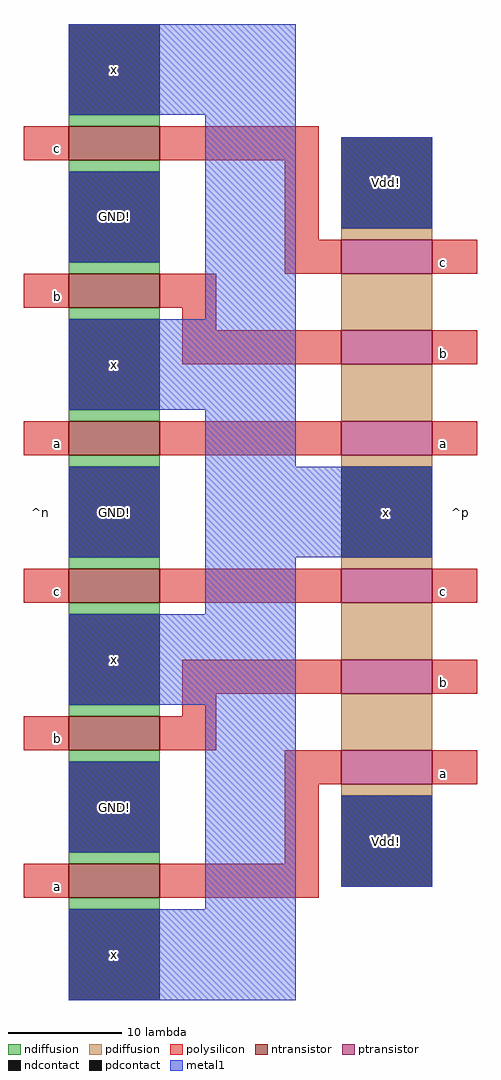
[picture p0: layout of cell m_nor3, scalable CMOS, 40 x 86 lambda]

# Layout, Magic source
magic
tech scmos
<< ndiffusion >>
rect 26 5 34 6
rect 26 1 34 2
rect 26 -8 34 -7
rect 26 -12 34 -11
rect 26 -21 34 -20
rect 26 -25 34 -24
rect 26 -34 34 -33
rect 26 -38 34 -37
rect 26 -47 34 -46
rect 26 -51 34 -50
rect 26 -60 34 -59
rect 26 -64 34 -63
<< pdiffusion >>
rect 50 -5 58 -4
rect 50 -13 58 -8
rect 50 -21 58 -16
rect 50 -25 58 -24
rect 50 -34 58 -33
rect 50 -42 58 -37
rect 50 -50 58 -45
rect 50 -54 58 -53
<< ntransistor >>
rect 26 2 34 5
rect 26 -11 34 -8
rect 26 -24 34 -21
rect 26 -37 34 -34
rect 26 -50 34 -47
rect 26 -63 34 -60
<< ptransistor >>
rect 50 -8 58 -5
rect 50 -16 58 -13
rect 50 -24 58 -21
rect 50 -37 58 -34
rect 50 -45 58 -42
rect 50 -53 58 -50
<< polysilicon >>
rect 22 2 26 5
rect 34 2 48 5
rect 45 -5 48 2
rect 45 -8 50 -5
rect 58 -8 62 -5
rect 22 -11 26 -8
rect 34 -11 39 -8
rect 36 -13 39 -11
rect 36 -16 50 -13
rect 58 -16 62 -13
rect 22 -24 26 -21
rect 34 -24 50 -21
rect 58 -24 62 -21
rect 22 -37 26 -34
rect 34 -37 50 -34
rect 58 -37 62 -34
rect 36 -45 50 -42
rect 58 -45 62 -42
rect 36 -47 39 -45
rect 22 -50 26 -47
rect 34 -50 39 -47
rect 45 -53 50 -50
rect 58 -53 62 -50
rect 45 -60 48 -53
rect 22 -63 26 -60
rect 34 -63 48 -60
<< ndcontact >>
rect 26 6 34 14
rect 26 -7 34 1
rect 26 -20 34 -12
rect 26 -33 34 -25
rect 26 -46 34 -38
rect 26 -59 34 -51
rect 26 -72 34 -64
<< pdcontact >>
rect 50 -4 58 4
rect 50 -33 58 -25
rect 50 -62 58 -54
<< metal1 >>
rect 26 6 46 14
rect 26 -7 34 1
rect 38 -12 46 6
rect 50 -4 58 4
rect 26 -20 46 -12
rect 38 -25 46 -20
rect 26 -33 34 -25
rect 38 -33 58 -25
rect 38 -38 46 -33
rect 26 -46 46 -38
rect 26 -59 34 -51
rect 38 -64 46 -46
rect 50 -62 58 -54
rect 26 -72 46 -64
<< labels >>
rlabel metal1 30 -16 30 -16 1 x
rlabel polysilicon 59 -23 59 -23 7 a
rlabel polysilicon 59 -15 59 -15 7 b
rlabel polysilicon 25 -10 25 -10 1 b
rlabel polysilicon 25 -23 25 -23 1 a
rlabel polysilicon 59 -7 59 -7 7 c
rlabel metal1 30 10 30 10 5 x
rlabel polysilicon 25 3 25 3 1 c
rlabel metal1 54 -29 54 -29 5 x
rlabel metal1 30 -42 30 -42 5 x
rlabel metal1 30 -68 30 -68 1 x
rlabel polysilicon 59 -36 59 -36 7 c
rlabel polysilicon 59 -44 59 -44 7 b
rlabel polysilicon 59 -52 59 -52 7 a
rlabel polysilicon 25 -49 25 -49 1 b
rlabel polysilicon 25 -62 25 -62 1 a
rlabel polysilicon 25 -36 25 -36 1 c
rlabel metal1 54 -58 54 -58 1 Vdd!
rlabel metal1 54 0 54 0 1 Vdd!
rlabel metal1 30 -3 30 -3 1 GND!
rlabel metal1 30 -29 30 -29 1 GND!
rlabel metal1 30 -55 30 -55 1 GND!
rlabel space 21 -72 26 14 7 ^n
rlabel space 58 -62 63 4 3 ^p
<< end >>
